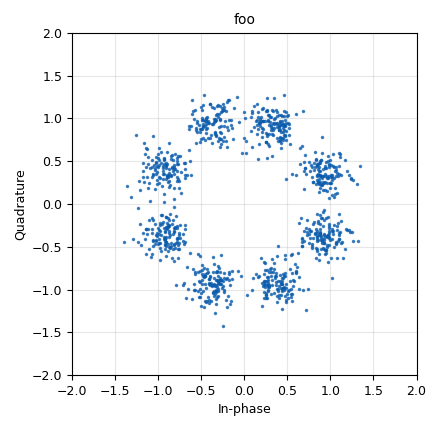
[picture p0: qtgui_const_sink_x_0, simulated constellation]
options:
  parameters:
    author: benjamin
    generate_options: qt_gui
    id: act1_BPSK
    output_language: python
    title: Not titled yet
  states: {}

blocks:
- name: EbN0
  id: variable_qtgui_range
  parameters:
    label: Eb/N0(db)
    start: '-110'
    step: '1'
    stop: '110'
    value: '6'
  states: {}
- name: const
  id: variable
  parameters:
    value: (digital.constellation_bpsk(), digital.constellation_qpsk(), digital.constellation_8psk())
  states: {}
- name: const_type
  id: variable
  parameters:
    value: '2'
  states: {}
- name: samp_rate
  id: variable
  parameters:
    value: '1000000'
  states: {}
- name: analog_noise_source_x_0
  id: analog_noise_source_x
  parameters:
    amp: 1.0 / math.sqrt(2.0 *const[const_type].bits_per_symbol() * 10**(EbN0/10))
    noise_type: analog.GR_GAUSSIAN
    seed: '42'
    type: complex
  states: {}
- name: analog_random_source_x_0
  id: analog_random_source_x
  parameters:
    max: const[const_type].arity()
    min: '0'
    num_samps: '10000000'
    repeat: 'True'
    type: byte
  states: {}
- name: blocks_add_xx_0
  id: blocks_add_xx
  parameters:
    type: complex
  states: {}
- name: blocks_throttle2_0
  id: blocks_throttle2
  parameters:
    samples_per_second: samp_rate
    type: byte
  states: {}
- name: digital_chunks_to_symbols_xx_0
  id: digital_chunks_to_symbols_xx
  parameters:
    dimension: '1'
    in_type: byte
    out_type: complex
    symbol_table: const[const_type].points()
  states: {}
- name: digital_constellation_decoder_cb_0
  id: digital_constellation_decoder_cb
  parameters:
    constellation: const[const_type].base()
  states: {}
- name: fec_ber_bf_0
  id: fec_ber_bf
  parameters:
    test_mode: 'False'
  states: {}
- name: import_0
  id: import
  parameters:
    imports: import math
  states: {}
- name: qtgui_const_sink_x_0
  id: qtgui_const_sink_x
  parameters:
    name: foo
    size: '1024'
    type: complex
  states: {}
- name: qtgui_number_sink_0
  id: qtgui_number_sink
  parameters:
    autoscale: 'True'
    graph_type: qtgui.NUM_GRAPH_HORIZ
    min: '0'
    name: BER
    type: float
  states: {}

connections:
- [analog_noise_source_x_0, '0', blocks_add_xx_0, '1']
- [analog_random_source_x_0, '0', blocks_throttle2_0, '0']
- [analog_random_source_x_0, '0', digital_chunks_to_symbols_xx_0, '0']
- [blocks_add_xx_0, '0', digital_constellation_decoder_cb_0, '0']
- [blocks_add_xx_0, '0', qtgui_const_sink_x_0, '0']
- [blocks_throttle2_0, '0', fec_ber_bf_0, '0']
- [digital_chunks_to_symbols_xx_0, '0', blocks_add_xx_0, '0']
- [digital_constellation_decoder_cb_0, '0', fec_ber_bf_0, '1']
- [fec_ber_bf_0, '0', qtgui_number_sink_0, '0']

metadata:
  file_format: 1
  grc_version: 3.10.9.2
